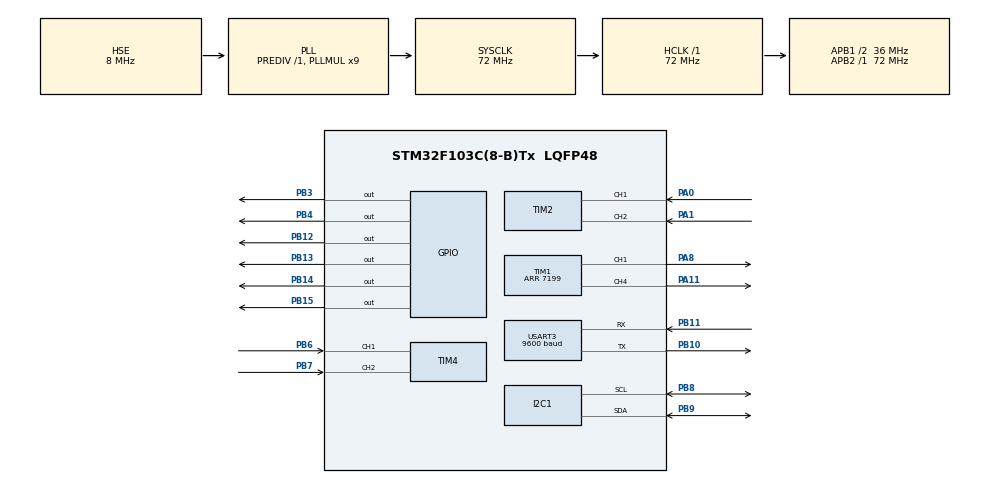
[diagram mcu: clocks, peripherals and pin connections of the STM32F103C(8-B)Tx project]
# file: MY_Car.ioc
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FREERTOS.Tasks01=defaultTask,0,128,StartDefaultTask,Default,NULL,Dynamic,NULL,NULL;Task_OLED,-3,128,Task_OLED_Display,Default,NULL,Dynamic,NULL,NULL;Task_PID,-3,128,Task_PID_Control,Default,NULL,Dynamic,NULL,NULL
Mcu.Family=STM32F1
Mcu.Name=STM32F103C(8-B)Tx
Mcu.Package=LQFP48
NVIC.PriorityGroup=NVIC_PRIORITYGROUP_4
NVIC.USART3_IRQn=true\:5\:0\:false\:false\:true\:true\:true\:true
PA0-WKUP.Signal=S_TIM2_CH1_ETR
PA1.Signal=S_TIM2_CH2
PA11.Signal=S_TIM1_CH4
PA13.Mode=Serial_Wire
PA13.Signal=SYS_JTMS-SWDIO
PA14.Mode=Serial_Wire
PA14.Signal=SYS_JTCK-SWCLK
PA8.Signal=S_TIM1_CH1
PB10.Mode=Asynchronous
PB10.Signal=USART3_TX
PB11.Mode=Asynchronous
PB11.Signal=USART3_RX
PB12.Signal=GPIO_Output
PB13.Signal=GPIO_Output
PB14.Signal=GPIO_Output
PB15.Signal=GPIO_Output
PB3.Signal=GPIO_Output
PB4.Signal=GPIO_Output
PB6.Signal=S_TIM4_CH1
PB7.Signal=S_TIM4_CH2
PB8.Mode=I2C
PB8.Signal=I2C1_SCL
PB9.Mode=I2C
PB9.Signal=I2C1_SDA
PD0-OSC_IN.Mode=HSE-External-Oscillator
PD0-OSC_IN.Signal=RCC_OSC_IN
PD1-OSC_OUT.Mode=HSE-External-Oscillator
PD1-OSC_OUT.Signal=RCC_OSC_OUT
ProjectManager.HeapSize=0x200
ProjectManager.StackSize=0x400
ProjectManager.TargetToolchain=MDK-ARM V5
RCC.AHBFreq_Value=72000000
RCC.APB1CLKDivider=RCC_HCLK_DIV2
RCC.APB1Freq_Value=36000000
RCC.APB1TimFreq_Value=72000000
RCC.APB2Freq_Value=72000000
RCC.APB2TimFreq_Value=72000000
RCC.HCLKFreq_Value=72000000
RCC.PLLMUL=RCC_PLL_MUL9
RCC.PLLSourceVirtual=RCC_PLLSOURCE_HSE
RCC.SYSCLKFreq_VALUE=72000000
RCC.SYSCLKSource=RCC_SYSCLKSOURCE_PLLCLK
RCC.USBFreq_Value=72000000
SH.S_TIM1_CH1.0=TIM1_CH1,PWM Generation1 CH1
SH.S_TIM1_CH4.0=TIM1_CH4,PWM Generation4 CH4
SH.S_TIM2_CH1_ETR.0=TIM2_CH1,Encoder_Interface
SH.S_TIM2_CH2.0=TIM2_CH2,Encoder_Interface
SH.S_TIM4_CH1.0=TIM4_CH1,Encoder_Interface
SH.S_TIM4_CH2.0=TIM4_CH2,Encoder_Interface
TIM1.Channel-PWM\ Generation1\ CH1=TIM_CHANNEL_1
TIM1.Channel-PWM\ Generation4\ CH4=TIM_CHANNEL_4
TIM1.Period=7199
TIM1.Pulse-PWM\ Generation1\ CH1=0
TIM1.Pulse-PWM\ Generation4\ CH4=0
TIM2.EncoderMode=TIM_ENCODERMODE_TI12
TIM4.EncoderMode=TIM_ENCODERMODE_TI12
USART3.BaudRate=9600
USART3.VirtualMode=VM_ASYNC
VP_FREERTOS_VS_CMSIS_V1.Mode=CMSIS_V1
board=custom

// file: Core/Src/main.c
/* USER CODE BEGIN Header */
/**
  ******************************************************************************
  * @file           : main.c
  * @brief          : Main program body
  ******************************************************************************
  * @attention
  *
  * <h2><center>&copy; Copyright (c) 2024 STMicroelectronics.
  * All rights reserved.</center></h2>
  *
  * This software component is licensed by ST under Ultimate Liberty license
  * SLA0044, the "License"; You may not use this file except in compliance with
  * the License. You may obtain a copy of the License at:
  *                             www.st.com/SLA0044
  *
  ******************************************************************************
  */
/* USER CODE END Header */
#include "main.h"
#include "cmsis_os.h"
#include "i2c.h"
#include "tim.h"
#include "usart.h"
#include "gpio.h"

/* USER CODE BEGIN Includes */
#include "stdio.h"
#include "oled.h"
#include "mpu6050.h"
#include "inv_mpu.h"
#include "inv_mpu_dmp_motion_driver.h"
#include "control.h"

/* USER CODE END Includes */

/* USER CODE BEGIN PV */
extern unsigned char rx_buf[2];

/* USER CODE END PV */

void SystemClock_Config(void);
void MX_FREERTOS_Init(void);

int main(void)
{

  /* MCU Configuration--------------------------------------------------------*/

  /* Reset of all peripherals, Initializes the Flash interface and the Systick. */
  HAL_Init();

  /* Configure the system clock */
  SystemClock_Config();

  /* Initialize all configured peripherals */
  MX_GPIO_Init();
  MX_I2C1_Init();
  MX_USART3_UART_Init();
  MX_TIM1_Init();
  MX_TIM2_Init();
  MX_TIM4_Init();
  /* USER CODE BEGIN 2 */
  HAL_UART_Receive_IT(&huart3,rx_buf,1);
  OLED_Init();
  OLED_Clear();
//  OLED_ShowString(0,0,"Init success",16);
  HAL_TIM_PWM_Start(&htim1,TIM_CHANNEL_1);
  HAL_TIM_PWM_Start(&htim1,TIM_CHANNEL_4);
  HAL_TIM_Encoder_Start(&htim2,TIM_CHANNEL_ALL);
  HAL_TIM_Encoder_Start(&htim4,TIM_CHANNEL_ALL);
  /* USER CODE END 2 */

  /* Call init function for freertos objects (in freertos.c) */
  MX_FREERTOS_Init();
  /* Start scheduler */
  osKernelStart();

  /* We should never get here as control is now taken by the scheduler */
  /* Infinite loop */
  while (1)
  {

  }
}

void SystemClock_Config(void)
{
  RCC_OscInitTypeDef RCC_OscInitStruct = {0};
  RCC_ClkInitTypeDef RCC_ClkInitStruct = {0};

  /** Initializes the RCC Oscillators according to the specified parameters
  * in the RCC_OscInitTypeDef structure.
  */
  RCC_OscInitStruct.OscillatorType = RCC_OSCILLATORTYPE_HSE;
  RCC_OscInitStruct.HSEState = RCC_HSE_ON;
  RCC_OscInitStruct.HSEPredivValue = RCC_HSE_PREDIV_DIV1;
  RCC_OscInitStruct.HSIState = RCC_HSI_ON;
  RCC_OscInitStruct.PLL.PLLState = RCC_PLL_ON;
  RCC_OscInitStruct.PLL.PLLSource = RCC_PLLSOURCE_HSE;
  RCC_OscInitStruct.PLL.PLLMUL = RCC_PLL_MUL9;
  if (HAL_RCC_OscConfig(&RCC_OscInitStruct) != HAL_OK)
  {
    Error_Handler();
  }
  /** Initializes the CPU, AHB and APB buses clocks
  */
  RCC_ClkInitStruct.ClockType = RCC_CLOCKTYPE_HCLK|RCC_CLOCKTYPE_SYSCLK
                              |RCC_CLOCKTYPE_PCLK1|RCC_CLOCKTYPE_PCLK2;
  RCC_ClkInitStruct.SYSCLKSource = RCC_SYSCLKSOURCE_PLLCLK;
  RCC_ClkInitStruct.AHBCLKDivider = RCC_SYSCLK_DIV1;
  RCC_ClkInitStruct.APB1CLKDivider = RCC_HCLK_DIV2;
  RCC_ClkInitStruct.APB2CLKDivider = RCC_HCLK_DIV1;

  if (HAL_RCC_ClockConfig(&RCC_ClkInitStruct, FLASH_LATENCY_2) != HAL_OK)
  {
    Error_Handler();
  }
}

void Error_Handler(void)
{
  __disable_irq();
  while (1)
  {
  }
}

/************************ (C) COPYRIGHT STMicroelectronics *****END OF FILE****/

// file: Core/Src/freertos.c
/* USER CODE BEGIN Header */
/**
  ******************************************************************************
  * File Name          : freertos.c
  * Description        : Code for freertos applications
  ******************************************************************************
  * @attention
  *
  * <h2><center>&copy; Copyright (c) 2024 STMicroelectronics.
  * All rights reserved.</center></h2>
  *
  * This software component is licensed by ST under Ultimate Liberty license
  * SLA0044, the "License"; You may not use this file except in compliance with
  * the License. You may obtain a copy of the License at:
  *                             www.st.com/SLA0044
  *
  ******************************************************************************
  */
/* USER CODE END Header */

#include "FreeRTOS.h"
#include "task.h"
#include "main.h"
#include "cmsis_os.h"

/* USER CODE BEGIN Includes */
#include "queue.h"
#include "usart.h"
#include "stdio.h"
#include "oled.h"
#include "mpu6050.h"
#include "inv_mpu.h"
#include "inv_mpu_dmp_motion_driver.h"
#include "control.h"
#include "car_task.h"
/* USER CODE END Includes */

/* USER CODE BEGIN Variables */
extern struct mpu6050_data OutMpu;
uint8_t display_buf[20];
uint8_t encoder_buf[20];
/* USER CODE END Variables */
osThreadId defaultTaskHandle;
osThreadId Task_OLEDHandle;
osThreadId Task_PIDHandle;

void StartDefaultTask(void const * argument);
void Task_OLED_Display(void const * argument);
void Task_PID_Control(void const * argument);

void MX_FREERTOS_Init(void); /* (MISRA C 2004 rule 8.1) */

/* GetIdleTaskMemory prototype (linked to static allocation support) */
void vApplicationGetIdleTaskMemory( StaticTask_t **ppxIdleTaskTCBBuffer, StackType_t **ppxIdleTaskStackBuffer, uint32_t *pulIdleTaskStackSize );

/* USER CODE BEGIN GET_IDLE_TASK_MEMORY */
static StaticTask_t xIdleTaskTCBBuffer;
static StackType_t xIdleStack[configMINIMAL_STACK_SIZE];

void vApplicationGetIdleTaskMemory( StaticTask_t **ppxIdleTaskTCBBuffer, StackType_t **ppxIdleTaskStackBuffer, uint32_t *pulIdleTaskStackSize )
{
  *ppxIdleTaskTCBBuffer = &xIdleTaskTCBBuffer;
  *ppxIdleTaskStackBuffer = &xIdleStack[0];
  *pulIdleTaskStackSize = configMINIMAL_STACK_SIZE;
  /* place for user code */
}
/* USER CODE END GET_IDLE_TASK_MEMORY */

void MX_FREERTOS_Init(void) {

  /* Create the thread(s) */
  /* definition and creation of defaultTask */
  osThreadDef(defaultTask, StartDefaultTask, osPriorityNormal, 0, 128);
  defaultTaskHandle = osThreadCreate(osThread(defaultTask), NULL);

  /* definition and creation of Task_OLED */
  osThreadDef(Task_OLED, Task_OLED_Display, osPriorityIdle, 0, 128);
  Task_OLEDHandle = osThreadCreate(osThread(Task_OLED), NULL);

  /* definition and creation of Task_PID */
  osThreadDef(Task_PID, Task_PID_Control, osPriorityIdle, 0, 128);
  Task_PIDHandle = osThreadCreate(osThread(Task_PID), NULL);

}

void StartDefaultTask(void const * argument)
{
  /* USER CODE BEGIN StartDefaultTask */
  /* Infinite loop */
	MPU_Init();
	mpu_dmp_init();
  for(;;)
  {
	Car_Task_200Hz();

    osDelay(5);
  }
  /* USER CODE END StartDefaultTask */
}

void Task_OLED_Display(void const * argument)
{
  /* USER CODE BEGIN Task_OLED_Display */
	OLED_Init();
	OLED_Interface();
  /* Infinite loop */

  for(;;)
  {

	OLED_Show();
    osDelay(200);
  }
  /* USER CODE END Task_OLED_Display */
}

void Task_PID_Control(void const * argument)
{
  /* USER CODE BEGIN Task_PID_Control */
  /* Infinite loop */
  for(;;)
  {
	Car_Task_100Hz();
    osDelay(10);
  }
  /* USER CODE END Task_PID_Control */
}

/************************ (C) COPYRIGHT STMicroelectronics *****END OF FILE****/
